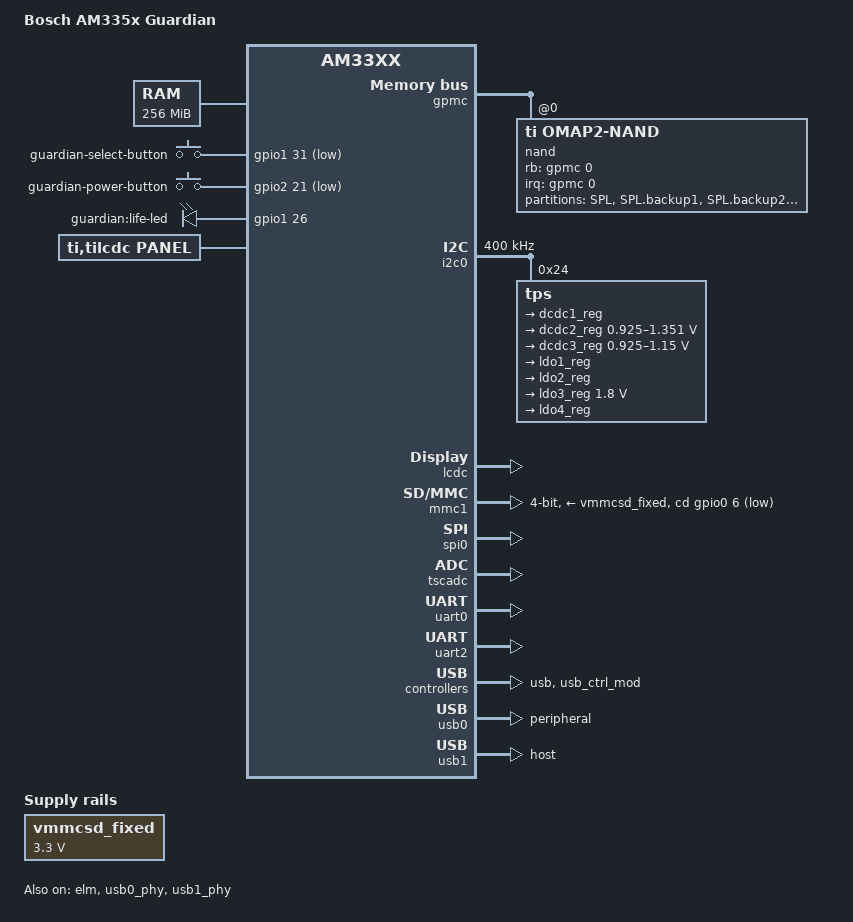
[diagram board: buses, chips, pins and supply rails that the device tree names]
// SPDX-License-Identifier: GPL-2.0
/*
 * Copyright (C) 2012 Texas Instruments Incorporated - https://www.ti.com/
 * Copyright (C) 2018 Robert Bosch Power Tools GmbH
 */
/dts-v1/;

#include "am33xx.dtsi"
#include <dt-bindings/input/input.h>
#include <dt-bindings/interrupt-controller/irq.h>

/ {
	model = "Bosch AM335x Guardian";
	compatible = "bosch,am335x-guardian", "ti,am33xx";

	chosen {
		stdout-path = &uart0;
		tick-timer = &timer2;
	};

	cpus {
		cpu@0 {
			cpu0-supply = <&dcdc2_reg>;
		};
	};

	memory@80000000 {
		device_type = "memory";
		reg = <0x80000000 0x10000000>; /* 256 MB */
	};

	guardian_buttons: gpio-keys {
		pinctrl-names = "default";
		pinctrl-0 = <&guardian_button_pins>;
		compatible = "gpio-keys";

		select-button {
			label = "guardian-select-button";
			linux,code = <KEY_5>;
			gpios = <&gpio1 31 GPIO_ACTIVE_LOW>;
			wakeup-source;
		};

		power-button {
			label = "guardian-power-button";
			linux,code = <KEY_POWER>;
			gpios = <&gpio2 21 GPIO_ACTIVE_LOW>;
			wakeup-source;
		};
	};

	guardian_leds: gpio-leds {
		pinctrl-names = "default";
		pinctrl-0 = <&guardian_led_pins>;
		compatible = "gpio-leds";

		life-led {
			label = "guardian:life-led";
			gpios = <&gpio1 26 GPIO_ACTIVE_HIGH>;
			linux,default-trigger = "heartbeat";
			default-state = "on";
		};
	};

	panel {
		compatible = "ti,tilcdc,panel";
		pinctrl-names = "default", "sleep";
		pinctrl-0 = <&lcd_pins_default &lcd_disen_pins>;
		pinctrl-1 = <&lcd_pins_sleep>;

		display-timings {
			320x240 {
				hactive         = <320>;
				vactive         = <240>;
				hback-porch     = <68>;
				hfront-porch    = <20>;
				hsync-len       = <1>;
				vback-porch     = <18>;
				vfront-porch    = <4>;
				vsync-len       = <1>;
				clock-frequency = <9000000>;
				hsync-active    = <0>;
				vsync-active    = <0>;
			};
		};
		panel-info {
			ac-bias           = <255>;
			ac-bias-intrpt    = <0>;
			dma-burst-sz      = <16>;
			bpp               = <16>;
			bus-width         = <16>;
			fdd               = <0x80>;
			sync-edge         = <0>;
			sync-ctrl         = <1>;
			raster-order      = <0>;
			fifo-th           = <0>;
		};

	};

	pwm7: pwm-7 {
		compatible = "ti,omap-dmtimer-pwm";
		ti,timers = <&timer7>;
		pinctrl-names = "default";
		pinctrl-0 = <&dmtimer7_pins>;
	};

	vmmcsd_fixed: regulator-3v3 {
		compatible = "regulator-fixed";
		regulator-name = "vmmcsd_fixed";
		regulator-min-microvolt = <3300000>;
		regulator-max-microvolt = <3300000>;
	};
};

&cppi41dma  {
	status = "okay";
};

&elm {
	status = "okay";
};

&gpmc {
	pinctrl-names = "default";
	pinctrl-0 = <&nandflash_pins>;
	ranges = <0 0 0x08000000 0x1000000>;  /* CS0: 16MB for NAND */
	status = "okay";

	nand@0,0 {
		compatible = "ti,omap2-nand";
		reg = <0 0 4>; /* CS0, offset 0, IO size 4 */
		interrupt-parent = <&gpmc>;
		interrupts = <0 IRQ_TYPE_NONE>, /* fifoevent */
			     <1 IRQ_TYPE_NONE>; /* termcount */
		rb-gpios = <&gpmc 0 GPIO_ACTIVE_HIGH>; /* gpmc_wait0 */
		ti,nand-ecc-opt = "bch16";
		ti,elm-id = <&elm>;
		nand-bus-width = <8>;
		gpmc,device-width = <1>;
		gpmc,sync-clk-ps = <0>;
		gpmc,cs-on-ns = <0>;
		gpmc,cs-rd-off-ns = <30>;
		gpmc,cs-wr-off-ns = <30>;
		gpmc,adv-on-ns = <0>;
		gpmc,adv-rd-off-ns = <30>;
		gpmc,adv-wr-off-ns = <30>;
		gpmc,we-on-ns = <0>;
		gpmc,we-off-ns = <15>;
		gpmc,oe-on-ns = <1>;
		gpmc,oe-off-ns = <15>;
		gpmc,access-ns = <30>;
		gpmc,rd-cycle-ns = <30>;
		gpmc,wr-cycle-ns = <30>;
		gpmc,wait-on-read = "true";
		gpmc,wait-on-write = "true";
		gpmc,bus-turnaround-ns = <0>;
		gpmc,cycle2cycle-delay-ns = <0>;
		gpmc,clk-activation-ns = <0>;
		gpmc,wait-monitoring-ns = <0>;
		gpmc,wr-access-ns = <0>;
		gpmc,wr-data-mux-bus-ns = <0>;

		/*
		 * MTD partition table
		 *
		 * All SPL-* partitions are sized to minimal length which can
		 * be independently programmable. For NAND flash this is equal
		 * to size of erase-block.
		 */
		#address-cells = <1>;
		#size-cells = <1>;

		partition@0 {
			label = "SPL";
			reg = <0x0 0x40000>;
		};

		partition@1 {
			label = "SPL.backup1";
			reg = <0x40000  0x40000>;
		};

		partition@2 {
			label = "SPL.backup2";
			reg = <0x80000  0x40000>;
		};

		partition@3 {
			label = "SPL.backup3";
			reg = <0xc0000  0x40000>;
		};

		partition@4 {
			label = "u-boot";
			reg = <0x100000 0x100000>;
		};

		partition@5 {
			label = "u-boot.backup1";
			reg = <0x200000 0x100000>;
		};

		partition@6 {
			label = "u-boot-2";
			reg = <0x300000 0x100000>;
		};

		partition@7 {
			label = "u-boot-2.backup1";
			reg = <0x400000 0x100000>;
		};

		partition@8 {
			label = "u-boot-env";
			reg = <0x500000 0x40000>;
		};

		partition@9 {
			label = "u-boot-env.backup1";
			reg = <0x540000 0x40000>;
		};

		partition@10 {
			label = "splash-screen";
			reg = <0x580000 0x40000>;
		};

		partition@11 {
			label = "UBI";
			reg = <0x5c0000 0x1fa40000>;
		};
	};
};

&i2c0 {
	pinctrl-names = "default";
	pinctrl-0 = <&i2c0_pins>;
	clock-frequency = <400000>;
	status = "okay";

	tps: tps@24 {
		reg = <0x24>;
	};
};

&lcdc {
	blue-and-red-wiring = "crossed";
	status = "okay";

	port {
		lcdc_0: endpoint@0 {
			remote-endpoint = <0>;
		};
	};
};

&mmc1 {
	bus-width = <0x4>;
	pinctrl-names = "default";
	pinctrl-0 = <&mmc1_pins>;
	cd-gpios = <&gpio0 6 GPIO_ACTIVE_LOW>;
	vmmc-supply = <&vmmcsd_fixed>;
	status = "okay";
};

&rtc {
	clocks = <&clk_32768_ck>, <&clk_24mhz_clkctrl AM3_CLK_24MHZ_CLKDIV32K_CLKCTRL 0>;
	clock-names = "ext-clk", "int-clk";
	system-power-controller;
};

&spi0 {
	ti,pindir-d0-out-d1-in;
	pinctrl-names = "default";
	pinctrl-0 = <&spi0_pins>;
	status = "okay";
};

/include/ "tps65217.dtsi"

&tps {
	ti,pmic-shutdown-controller;
	interrupt-parent = <&intc>;
	interrupts = <7>; /* NMI */

	backlight {
		isel = <1>;  /* 1 - ISET1, 2 ISET2 */
		fdim = <100>; /* TPS65217_BL_FDIM_100HZ */
		default-brightness = <100>;
	};

	regulators {
		dcdc1_reg: regulator@0 {
			regulator-name = "vdds_dpr";
			regulator-always-on;
		};

		dcdc2_reg: regulator@1 {
			regulator-name = "vdd_mpu";
			regulator-min-microvolt = <925000>;
			regulator-max-microvolt = <1351500>;
			regulator-boot-on;
			regulator-always-on;
		};

		dcdc3_reg: regulator@2 {
			regulator-name = "vdd_core";
			regulator-min-microvolt = <925000>;
			regulator-max-microvolt = <1150000>;
			regulator-boot-on;
			regulator-always-on;
		};

		ldo1_reg: regulator@3 {
			regulator-name = "vio,vrtc,vdds";
			regulator-always-on;
		};

		ldo2_reg: regulator@4 {
			regulator-name = "vdd_3v3aux";
			regulator-always-on;
		};

		ldo3_reg: regulator@5 {
			regulator-name = "vdd_1v8";
			regulator-min-microvolt = <1800000>;
			regulator-max-microvolt = <1800000>;
			regulator-always-on;
		};

		ldo4_reg: regulator@6 {
			regulator-name = "vdd_3v3a";
			regulator-always-on;
		};
	};
};

&tscadc {
	status = "okay";

	adc {
		ti,adc-channels = <0 1 2 3 4 5 6>;
	};
};

&uart0 {
	pinctrl-names = "default";
	pinctrl-0 = <&uart0_pins>;
	status = "okay";
};

&uart2 {
	pinctrl-names = "default";
	pinctrl-0 = <&uart2_pins>;
	status = "okay";
};

&usb {
	status = "okay";
};

&usb_ctrl_mod {
	status = "okay";
};

&usb0 {
	dr_mode = "peripheral";
	status = "okay";
};

&usb0_phy {
	status = "okay";
};

&usb1 {
	dr_mode = "host";
	status = "okay";
};

&usb1_phy {
	status = "okay";
};

&am33xx_pinmux {
	pinctrl-names = "default";
	pinctrl-0 = <&clkout2_pin &guardian_interface_pins>;

	clkout2_pin: pinmux_clkout2_pin {
		pinctrl-single,pins = <
			AM33XX_PADCONF(AM335X_PIN_XDMA_EVENT_INTR1, PIN_OUTPUT_PULLDOWN, MUX_MODE3)
		>;
	};

	dmtimer7_pins: pinmux_dmtimer7_pins {
		pinctrl-single,pins = <
			AM33XX_PADCONF(AM335X_PIN_UART0_CTSN, PIN_OUTPUT, MUX_MODE5)
		>;
	};

	guardian_button_pins: pinmux_gpio_keys_pins {
		pinctrl-single,pins = <
			AM33XX_PADCONF(AM335X_PIN_MII1_RXD0, PIN_INPUT, MUX_MODE7)
			AM33XX_PADCONF(AM335X_PIN_GPMC_CSN2, PIN_INPUT, MUX_MODE7)
		>;
	};

	guardian_interface_pins: pinmux_guardian_interface_pins {
		pinctrl-single,pins = <
			AM33XX_PADCONF(AM335X_PIN_MCASP0_ACLKX, PIN_OUTPUT_PULLUP, MUX_MODE7)
			AM33XX_PADCONF(AM335X_PIN_MCASP0_AHCLKX, PIN_OUTPUT_PULLDOWN, MUX_MODE7)
			AM33XX_PADCONF(AM335X_PIN_MII1_TX_EN, PIN_OUTPUT_PULLDOWN, MUX_MODE7)
			AM33XX_PADCONF(AM335X_PIN_UART1_RXD, PIN_INPUT, MUX_MODE7)
			AM33XX_PADCONF(AM335X_PIN_UART1_TXD, PIN_INPUT, MUX_MODE7)
			AM33XX_PADCONF(AM335X_PIN_MDC, PIN_OUTPUT_PULLUP, MUX_MODE7)
			AM33XX_PADCONF(AM335X_PIN_MII1_CRS, PIN_OUTPUT_PULLDOWN, MUX_MODE7)
			AM33XX_PADCONF(AM335X_PIN_RMII1_REF_CLK, PIN_OUTPUT_PULLDOWN, MUX_MODE7)
			AM33XX_PADCONF(AM335X_PIN_MII1_TXD3, PIN_INPUT, MUX_MODE7)
			AM33XX_PADCONF(AM335X_PIN_MII1_RX_DV, PIN_OUTPUT_PULLDOWN, MUX_MODE7)
		>;
	};

	i2c0_pins: pinmux_i2c0_pins {
		pinctrl-single,pins = <
			AM33XX_PADCONF(AM335X_PIN_I2C0_SDA, PIN_INPUT_PULLUP, MUX_MODE0)
			AM33XX_PADCONF(AM335X_PIN_I2C0_SCL, PIN_INPUT_PULLUP, MUX_MODE0)
		>;
	};

	lcd_disen_pins: pinmux_lcd_disen_pins {
		pinctrl-single,pins = <
			AM33XX_PADCONF
			(AM335X_PIN_MCASP0_FSR, PIN_OUTPUT_PULLUP | SLEWCTRL_SLOW, MUX_MODE7)
		>;
	};

	lcd_pins_default: pinmux_lcd_pins_default {
		pinctrl-single,pins = <
			AM33XX_PADCONF(AM335X_PIN_GPMC_AD8, PIN_OUTPUT | SLEWCTRL_SLOW, MUX_MODE1)
			AM33XX_PADCONF(AM335X_PIN_GPMC_AD9, PIN_OUTPUT | SLEWCTRL_SLOW, MUX_MODE1)
			AM33XX_PADCONF(AM335X_PIN_GPMC_AD10, PIN_OUTPUT | SLEWCTRL_SLOW, MUX_MODE1)
			AM33XX_PADCONF(AM335X_PIN_GPMC_AD11, PIN_OUTPUT | SLEWCTRL_SLOW, MUX_MODE1)
			AM33XX_PADCONF(AM335X_PIN_GPMC_AD12, PIN_OUTPUT | SLEWCTRL_SLOW, MUX_MODE1)
			AM33XX_PADCONF(AM335X_PIN_GPMC_AD13, PIN_OUTPUT | SLEWCTRL_SLOW, MUX_MODE1)
			AM33XX_PADCONF(AM335X_PIN_GPMC_AD14, PIN_OUTPUT | SLEWCTRL_SLOW, MUX_MODE1)
			AM33XX_PADCONF(AM335X_PIN_GPMC_AD15, PIN_OUTPUT | SLEWCTRL_SLOW, MUX_MODE1)
			AM33XX_PADCONF(AM335X_PIN_LCD_DATA0, PIN_OUTPUT | SLEWCTRL_SLOW, MUX_MODE0)
			AM33XX_PADCONF(AM335X_PIN_LCD_DATA1, PIN_OUTPUT | SLEWCTRL_SLOW, MUX_MODE0)
			AM33XX_PADCONF(AM335X_PIN_LCD_DATA2, PIN_OUTPUT | SLEWCTRL_SLOW, MUX_MODE0)
			AM33XX_PADCONF(AM335X_PIN_LCD_DATA3, PIN_OUTPUT | SLEWCTRL_SLOW, MUX_MODE0)
			AM33XX_PADCONF(AM335X_PIN_LCD_DATA4, PIN_OUTPUT | SLEWCTRL_SLOW, MUX_MODE0)
			AM33XX_PADCONF(AM335X_PIN_LCD_DATA5, PIN_OUTPUT | SLEWCTRL_SLOW, MUX_MODE0)
			AM33XX_PADCONF(AM335X_PIN_LCD_DATA6, PIN_OUTPUT | SLEWCTRL_SLOW, MUX_MODE0)
			AM33XX_PADCONF(AM335X_PIN_LCD_DATA7, PIN_OUTPUT | SLEWCTRL_SLOW, MUX_MODE0)
			AM33XX_PADCONF(AM335X_PIN_LCD_DATA8, PIN_OUTPUT | SLEWCTRL_SLOW, MUX_MODE0)
			AM33XX_PADCONF(AM335X_PIN_LCD_DATA9, PIN_OUTPUT | SLEWCTRL_SLOW, MUX_MODE0)
			AM33XX_PADCONF(AM335X_PIN_LCD_DATA10, PIN_OUTPUT | SLEWCTRL_SLOW, MUX_MODE0)
			AM33XX_PADCONF(AM335X_PIN_LCD_DATA11, PIN_OUTPUT | SLEWCTRL_SLOW, MUX_MODE0)
			AM33XX_PADCONF(AM335X_PIN_LCD_DATA12, PIN_OUTPUT | SLEWCTRL_SLOW, MUX_MODE0)
			AM33XX_PADCONF(AM335X_PIN_LCD_DATA13, PIN_OUTPUT | SLEWCTRL_SLOW, MUX_MODE0)
			AM33XX_PADCONF(AM335X_PIN_LCD_DATA14, PIN_OUTPUT | SLEWCTRL_SLOW, MUX_MODE0)
			AM33XX_PADCONF(AM335X_PIN_LCD_DATA15, PIN_OUTPUT | SLEWCTRL_SLOW, MUX_MODE0)
			AM33XX_PADCONF(AM335X_PIN_LCD_VSYNC, PIN_OUTPUT | SLEWCTRL_SLOW, MUX_MODE0)
			AM33XX_PADCONF(AM335X_PIN_LCD_HSYNC, PIN_OUTPUT | SLEWCTRL_SLOW, MUX_MODE0)
			AM33XX_PADCONF(AM335X_PIN_LCD_PCLK, PIN_OUTPUT | SLEWCTRL_SLOW, MUX_MODE0)
			AM33XX_PADCONF
			(AM335X_PIN_LCD_AC_BIAS_EN, PIN_OUTPUT | SLEWCTRL_SLOW, MUX_MODE0)
		>;
	};

	lcd_pins_sleep: pinmux_lcd_pins_sleep {
		pinctrl-single,pins = <
			AM33XX_PADCONF
			(AM335X_PIN_LCD_DATA0, PULL_DISABLE | SLEWCTRL_SLOW, MUX_MODE7)
			AM33XX_PADCONF
			(AM335X_PIN_LCD_DATA1, PULL_DISABLE | SLEWCTRL_SLOW, MUX_MODE7)
			AM33XX_PADCONF
			(AM335X_PIN_LCD_DATA2, PULL_DISABLE | SLEWCTRL_SLOW, MUX_MODE7)
			AM33XX_PADCONF
			(AM335X_PIN_LCD_DATA3, PULL_DISABLE | SLEWCTRL_SLOW, MUX_MODE7)
			AM33XX_PADCONF
			(AM335X_PIN_LCD_DATA4, PULL_DISABLE | SLEWCTRL_SLOW, MUX_MODE7)
			AM33XX_PADCONF
			(AM335X_PIN_LCD_DATA5, PULL_DISABLE | SLEWCTRL_SLOW, MUX_MODE7)
			AM33XX_PADCONF
			(AM335X_PIN_LCD_DATA6, PULL_DISABLE | SLEWCTRL_SLOW, MUX_MODE7)
			AM33XX_PADCONF
			(AM335X_PIN_LCD_DATA7, PULL_DISABLE | SLEWCTRL_SLOW, MUX_MODE7)
			AM33XX_PADCONF
			(AM335X_PIN_LCD_DATA8, PULL_DISABLE | SLEWCTRL_SLOW, MUX_MODE7)
			AM33XX_PADCONF
			(AM335X_PIN_LCD_DATA9, PULL_DISABLE | SLEWCTRL_SLOW, MUX_MODE7)
			AM33XX_PADCONF
			(AM335X_PIN_LCD_DATA10, PULL_DISABLE | SLEWCTRL_SLOW, MUX_MODE7)
			AM33XX_PADCONF
			(AM335X_PIN_LCD_DATA11, PULL_DISABLE | SLEWCTRL_SLOW, MUX_MODE7)
			AM33XX_PADCONF
			(AM335X_PIN_LCD_DATA12, PULL_DISABLE | SLEWCTRL_SLOW, MUX_MODE7)
			AM33XX_PADCONF
			(AM335X_PIN_LCD_DATA13, PULL_DISABLE | SLEWCTRL_SLOW, MUX_MODE7)
			AM33XX_PADCONF
			(AM335X_PIN_LCD_DATA14, PULL_DISABLE | SLEWCTRL_SLOW, MUX_MODE7)
			AM33XX_PADCONF
			(AM335X_PIN_LCD_DATA15, PULL_DISABLE | SLEWCTRL_SLOW, MUX_MODE7)
			AM33XX_PADCONF
			(AM335X_PIN_LCD_VSYNC, PIN_INPUT_PULLDOWN | SLEWCTRL_SLOW, MUX_MODE7)
			AM33XX_PADCONF
			(AM335X_PIN_LCD_HSYNC, PIN_INPUT_PULLDOWN | SLEWCTRL_SLOW, MUX_MODE7)
			AM33XX_PADCONF
			(AM335X_PIN_LCD_PCLK, PIN_INPUT_PULLDOWN | SLEWCTRL_SLOW, MUX_MODE7)
			AM33XX_PADCONF
			(AM335X_PIN_LCD_AC_BIAS_EN, PIN_INPUT_PULLDOWN | SLEWCTRL_SLOW, MUX_MODE7)
		>;
	};

	guardian_led_pins: pinmux_leds_pins {
		pinctrl-single,pins = <
			AM33XX_PADCONF(AM335X_PIN_GPMC_A10, PIN_OUTPUT, MUX_MODE7)
		>;
	};

	mmc1_pins: pinmux_mmc1_pins {
		pinctrl-single,pins = <
			AM33XX_PADCONF(AM335X_PIN_MMC0_DAT3, PIN_INPUT_PULLUP, MUX_MODE0)
			AM33XX_PADCONF(AM335X_PIN_MMC0_DAT2, PIN_INPUT_PULLUP, MUX_MODE0)
			AM33XX_PADCONF(AM335X_PIN_MMC0_DAT1, PIN_INPUT_PULLUP, MUX_MODE0)
			AM33XX_PADCONF(AM335X_PIN_MMC0_DAT0, PIN_INPUT_PULLUP, MUX_MODE0)
			AM33XX_PADCONF(AM335X_PIN_MMC0_CLK, PIN_INPUT_PULLUP, MUX_MODE0)
			AM33XX_PADCONF(AM335X_PIN_MMC0_CMD, PIN_INPUT_PULLUP, MUX_MODE0)
			AM33XX_PADCONF(AM335X_PIN_SPI0_CS1, PIN_INPUT, MUX_MODE7)
		>;
	};

	spi0_pins: pinmux_spi0_pins {
		pinctrl-single,pins = <
			AM33XX_PADCONF(AM335X_PIN_SPI0_SCLK, PIN_OUTPUT_PULLDOWN, MUX_MODE0)
			AM33XX_PADCONF(AM335X_PIN_SPI0_D0, PIN_OUTPUT_PULLUP, MUX_MODE0)
			AM33XX_PADCONF(AM335X_PIN_SPI0_D1, PIN_INPUT_PULLUP, MUX_MODE0)
			AM33XX_PADCONF(AM335X_PIN_SPI0_CS0, PIN_OUTPUT_PULLUP, MUX_MODE0)
		>;
	};

	uart0_pins: pinmux_uart0_pins {
		pinctrl-single,pins = <
			AM33XX_PADCONF(AM335X_PIN_UART0_RXD, PIN_INPUT_PULLUP, MUX_MODE0)
			AM33XX_PADCONF(AM335X_PIN_UART0_TXD, PIN_OUTPUT_PULLDOWN, MUX_MODE0)
		>;
	};

	uart2_pins: pinmux_uart2_pins {
		pinctrl-single,pins = <
			AM33XX_PADCONF(AM335X_PIN_MII1_TX_CLK, PIN_INPUT_PULLUP, MUX_MODE1)
			AM33XX_PADCONF(AM335X_PIN_MII1_RX_CLK, PIN_OUTPUT_PULLDOWN, MUX_MODE1)
		>;
	};

	nandflash_pins: pinmux_nandflash_pins {
		pinctrl-single,pins = <
			AM33XX_PADCONF(AM335X_PIN_GPMC_AD0, PIN_INPUT, MUX_MODE0)
			AM33XX_PADCONF(AM335X_PIN_GPMC_AD1, PIN_INPUT, MUX_MODE0)
			AM33XX_PADCONF(AM335X_PIN_GPMC_AD2, PIN_INPUT, MUX_MODE0)
			AM33XX_PADCONF(AM335X_PIN_GPMC_AD3, PIN_INPUT, MUX_MODE0)
			AM33XX_PADCONF(AM335X_PIN_GPMC_AD4, PIN_INPUT, MUX_MODE0)
			AM33XX_PADCONF(AM335X_PIN_GPMC_AD5, PIN_INPUT, MUX_MODE0)
			AM33XX_PADCONF(AM335X_PIN_GPMC_AD6, PIN_INPUT, MUX_MODE0)
			AM33XX_PADCONF(AM335X_PIN_GPMC_AD7, PIN_INPUT, MUX_MODE0)
			AM33XX_PADCONF(AM335X_PIN_GPMC_WAIT0, PIN_INPUT, MUX_MODE0)
			AM33XX_PADCONF(AM335X_PIN_GPMC_WPN, PIN_OUTPUT, MUX_MODE0)
			AM33XX_PADCONF(AM335X_PIN_GPMC_CSN0, PIN_OUTPUT, MUX_MODE0)
			AM33XX_PADCONF(AM335X_PIN_GPMC_ADVN_ALE, PIN_OUTPUT, MUX_MODE0)
			AM33XX_PADCONF(AM335X_PIN_GPMC_OEN_REN, PIN_OUTPUT, MUX_MODE0)
			AM33XX_PADCONF(AM335X_PIN_GPMC_WEN, PIN_OUTPUT, MUX_MODE0)
			AM33XX_PADCONF(AM335X_PIN_GPMC_BEN0_CLE, PIN_OUTPUT, MUX_MODE0)
		>;
	};
};
